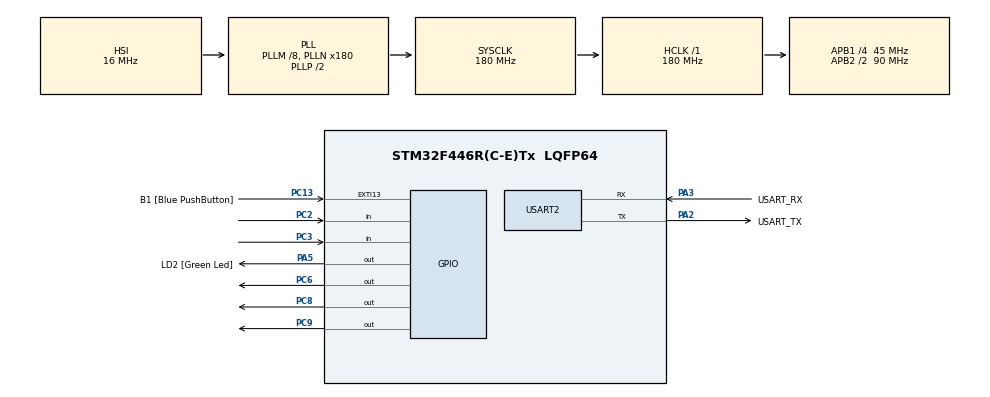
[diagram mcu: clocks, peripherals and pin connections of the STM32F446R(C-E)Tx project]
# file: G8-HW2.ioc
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Mcu.Family=STM32F4
Mcu.Name=STM32F446R(C-E)Tx
Mcu.Package=LQFP64
NVIC.PriorityGroup=NVIC_PRIORITYGROUP_0
PA13.GPIO_Label=TMS
PA13.Mode=Serial_Wire
PA13.Signal=SYS_JTMS-SWDIO
PA14.GPIO_Label=TCK
PA14.Mode=Serial_Wire
PA14.Signal=SYS_JTCK-SWCLK
PA2.GPIO_Label=USART_TX
PA2.Mode=Asynchronous
PA2.Signal=USART2_TX
PA3.GPIO_Label=USART_RX
PA3.Mode=Asynchronous
PA3.Signal=USART2_RX
PA5.GPIO_Label=LD2 [Green Led]
PA5.Signal=GPIO_Output
PB3.GPIO_Label=SWO
PB3.Signal=SYS_JTDO-SWO
PC13.GPIO_Label=B1 [Blue PushButton]
PC13.GPIO_ModeDefaultEXTI=GPIO_MODE_IT_FALLING
PC13.Signal=GPXTI13
PC14-OSC32_IN.Signal=RCC_OSC32_IN
PC15-OSC32_OUT.Signal=RCC_OSC32_OUT
PC2.Signal=GPIO_Input
PC3.Signal=GPIO_Input
PC6.Signal=GPIO_Output
PC8.Signal=GPIO_Output
PC9.Signal=GPIO_Output
PH0-OSC_IN.Mode=HSE-External-Clock-Source
PH0-OSC_IN.Signal=RCC_OSC_IN
PH1-OSC_OUT.Mode=HSE-External-Clock-Source
PH1-OSC_OUT.Signal=RCC_OSC_OUT
ProjectManager.HeapSize=0x200
ProjectManager.StackSize=0x400
ProjectManager.TargetToolchain=SW4STM32
RCC.48MHZClocksFreq_Value=84000000
RCC.AHBFreq_Value=180000000
RCC.APB1CLKDivider=RCC_HCLK_DIV4
RCC.APB1Freq_Value=45000000
RCC.APB1TimFreq_Value=90000000
RCC.APB2CLKDivider=RCC_HCLK_DIV2
RCC.APB2Freq_Value=90000000
RCC.APB2TimFreq_Value=180000000
RCC.CortexFreq_Value=180000000
RCC.FLatency-AdvancedSettings=FLASH_LATENCY_5
RCC.HCLKFreq_Value=180000000
RCC.HSE_VALUE=8000000
RCC.HSI_VALUE=16000000
RCC.PLLM=8
RCC.PLLN=180
RCC.SYSCLKFreq_VALUE=180000000
RCC.SYSCLKSource=RCC_SYSCLKSOURCE_PLLCLK
RCC.USBFreq_Value=180000000
RCC.VCOOutputFreq_Value=360000000
USART2.VirtualMode=VM_ASYNC
board=NUCLEO-F446RE

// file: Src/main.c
/**
  ******************************************************************************
  * @file           : main.c
  * @brief          : Main program body
  ******************************************************************************
  ** This notice applies to any and all portions of this file
  * that are not between comment pairs USER CODE BEGIN and
  * USER CODE END. Other portions of this file, whether
  * inserted by the user or by software development tools
  * are owned by their respective copyright owners.
  *
  * COPYRIGHT(c) 2018 STMicroelectronics
  *
  * Redistribution and use in source and binary forms, with or without modification,
  * are permitted provided that the following conditions are met:
  *   1. Redistributions of source code must retain the above copyright notice,
  *      this list of conditions and the following disclaimer.
  *   2. Redistributions in binary form must reproduce the above copyright notice,
  *      this list of conditions and the following disclaimer in the documentation
  *      and/or other materials provided with the distribution.
  *   3. Neither the name of STMicroelectronics nor the names of its contributors
  *      may be used to endorse or promote products derived from this software
  *      without specific prior written permission.
  *
  * THIS SOFTWARE IS PROVIDED BY THE COPYRIGHT HOLDERS AND CONTRIBUTORS "AS IS"
  * AND ANY EXPRESS OR IMPLIED WARRANTIES, INCLUDING, BUT NOT LIMITED TO, THE
  * IMPLIED WARRANTIES OF MERCHANTABILITY AND FITNESS FOR A PARTICULAR PURPOSE ARE
  * DISCLAIMED. IN NO EVENT SHALL THE COPYRIGHT HOLDER OR CONTRIBUTORS BE LIABLE
  * FOR ANY DIRECT, INDIRECT, INCIDENTAL, SPECIAL, EXEMPLARY, OR CONSEQUENTIAL
  * DAMAGES (INCLUDING, BUT NOT LIMITED TO, PROCUREMENT OF SUBSTITUTE GOODS OR
  * SERVICES; LOSS OF USE, DATA, OR PROFITS; OR BUSINESS INTERRUPTION) HOWEVER
  * CAUSED AND ON ANY THEORY OF LIABILITY, WHETHER IN CONTRACT, STRICT LIABILITY,
  * OR TORT (INCLUDING NEGLIGENCE OR OTHERWISE) ARISING IN ANY WAY OUT OF THE USE
  * OF THIS SOFTWARE, EVEN IF ADVISED OF THE POSSIBILITY OF SUCH DAMAGE.
  *
  ******************************************************************************
  */
#include "main.h"
#include "stm32f4xx_hal.h"
#include "usart.h"
#include "gpio.h"

/* USER CODE BEGIN PV */
/* Private variables ---------------------------------------------------------*/

/* USER CODE END PV */

void SystemClock_Config(void);

/* USER CODE BEGIN PFP */
/* Private function prototypes -----------------------------------------------*/

/* USER CODE END PFP */

int main(void)
{

  /* MCU Configuration----------------------------------------------------------*/

  /* Reset of all peripherals, Initializes the Flash interface and the Systick. */
  HAL_Init();

  /* Configure the system clock */
  SystemClock_Config();

  /* Initialize all configured peripherals */
  MX_GPIO_Init();
  MX_USART2_UART_Init();

  /* Infinite loop */
  /* USER CODE BEGIN WHILE */
  HAL_GPIO_WritePin(GPIOA, GPIO_PIN_5, 0);
  HAL_GPIO_WritePin(GPIOC, GPIO_PIN_6, 0);
  HAL_GPIO_WritePin(GPIOC, GPIO_PIN_8, 0);
  HAL_GPIO_WritePin(GPIOC, GPIO_PIN_9, 0);

  uint32_t period = 600;
  GPIO_PinState prev1BtnState = GPIO_PIN_RESET;
  GPIO_PinState prev2BtnState = GPIO_PIN_RESET;
  GPIO_PinState prev3BtnState = GPIO_PIN_SET;

  while (1)
  {
	  //HAL_GPIO_WritePin(GPIOC, GPIO_PIN_6, 0);
	  //HAL_GPIO_WritePin(GPIOC, GPIO_PIN_8, 0);
	  //HAL_GPIO_WritePin(GPIOC, GPIO_PIN_9, 0);

	  GPIO_PinState fstBtnState = HAL_GPIO_ReadPin(GPIOC, GPIO_PIN_2);
	  //HAL_Delay(100);

	  GPIO_PinState sndBtnState = HAL_GPIO_ReadPin(GPIOC, GPIO_PIN_3);
	  //HAL_Delay(100);

	  GPIO_PinState trdBtnState = HAL_GPIO_ReadPin(GPIOC, GPIO_PIN_13);
	  //HAL_Delay(100);

	  if ( fstBtnState )
	  {
		  prev1BtnState = fstBtnState;
		  //HAL_GPIO_WritePin(GPIOC, GPIO_PIN_6, prev1BtnState);
		  HAL_GPIO_TogglePin(GPIOC, GPIO_PIN_6);
		  HAL_Delay(500);
		  //fstBtnState = 0;
	  }

	  if ( sndBtnState )
	  {
		  prev2BtnState = sndBtnState;
		  //HAL_GPIO_WritePin(GPIOC, GPIO_PIN_8, prev2BtnState);
		  HAL_GPIO_TogglePin(GPIOC, GPIO_PIN_8);
		  HAL_Delay(500);
		  //sndBtnState = 0;
	  }

	  if ( !trdBtnState )
	  {
		  prev3BtnState = trdBtnState;
		  //HAL_GPIO_WritePin(GPIOC, GPIO_PIN_9, prev3BtnState);
		  HAL_GPIO_TogglePin(GPIOC, GPIO_PIN_9);
		  HAL_Delay(500);
		  //sndBtnState = 0;
	  }

  /* USER CODE END WHILE */

  }

}

void SystemClock_Config(void)
{

  RCC_OscInitTypeDef RCC_OscInitStruct;
  RCC_ClkInitTypeDef RCC_ClkInitStruct;

    /**Configure the main internal regulator output voltage
    */
  __HAL_RCC_PWR_CLK_ENABLE();

  __HAL_PWR_VOLTAGESCALING_CONFIG(PWR_REGULATOR_VOLTAGE_SCALE1);

    /**Initializes the CPU, AHB and APB busses clocks
    */
  RCC_OscInitStruct.OscillatorType = RCC_OSCILLATORTYPE_HSI;
  RCC_OscInitStruct.HSIState = RCC_HSI_ON;
  RCC_OscInitStruct.HSICalibrationValue = 16;
  RCC_OscInitStruct.PLL.PLLState = RCC_PLL_ON;
  RCC_OscInitStruct.PLL.PLLSource = RCC_PLLSOURCE_HSI;
  RCC_OscInitStruct.PLL.PLLM = 8;
  RCC_OscInitStruct.PLL.PLLN = 180;
  RCC_OscInitStruct.PLL.PLLP = RCC_PLLP_DIV2;
  RCC_OscInitStruct.PLL.PLLQ = 2;
  RCC_OscInitStruct.PLL.PLLR = 2;
  if (HAL_RCC_OscConfig(&RCC_OscInitStruct) != HAL_OK)
  {
    _Error_Handler(__FILE__, __LINE__);
  }

    /**Activate the Over-Drive mode
    */
  if (HAL_PWREx_EnableOverDrive() != HAL_OK)
  {
    _Error_Handler(__FILE__, __LINE__);
  }

    /**Initializes the CPU, AHB and APB busses clocks
    */
  RCC_ClkInitStruct.ClockType = RCC_CLOCKTYPE_HCLK|RCC_CLOCKTYPE_SYSCLK
                              |RCC_CLOCKTYPE_PCLK1|RCC_CLOCKTYPE_PCLK2;
  RCC_ClkInitStruct.SYSCLKSource = RCC_SYSCLKSOURCE_PLLCLK;
  RCC_ClkInitStruct.AHBCLKDivider = RCC_SYSCLK_DIV1;
  RCC_ClkInitStruct.APB1CLKDivider = RCC_HCLK_DIV4;
  RCC_ClkInitStruct.APB2CLKDivider = RCC_HCLK_DIV2;

  if (HAL_RCC_ClockConfig(&RCC_ClkInitStruct, FLASH_LATENCY_5) != HAL_OK)
  {
    _Error_Handler(__FILE__, __LINE__);
  }

    /**Configure the Systick interrupt time
    */
  HAL_SYSTICK_Config(HAL_RCC_GetHCLKFreq()/1000);

    /**Configure the Systick
    */
  HAL_SYSTICK_CLKSourceConfig(SYSTICK_CLKSOURCE_HCLK);

  /* SysTick_IRQn interrupt configuration */
  HAL_NVIC_SetPriority(SysTick_IRQn, 0, 0);
}

void _Error_Handler(char *file, int line)
{
  while(1)
  {
  }
}

/************************ (C) COPYRIGHT STMicroelectronics *****END OF FILE****/
